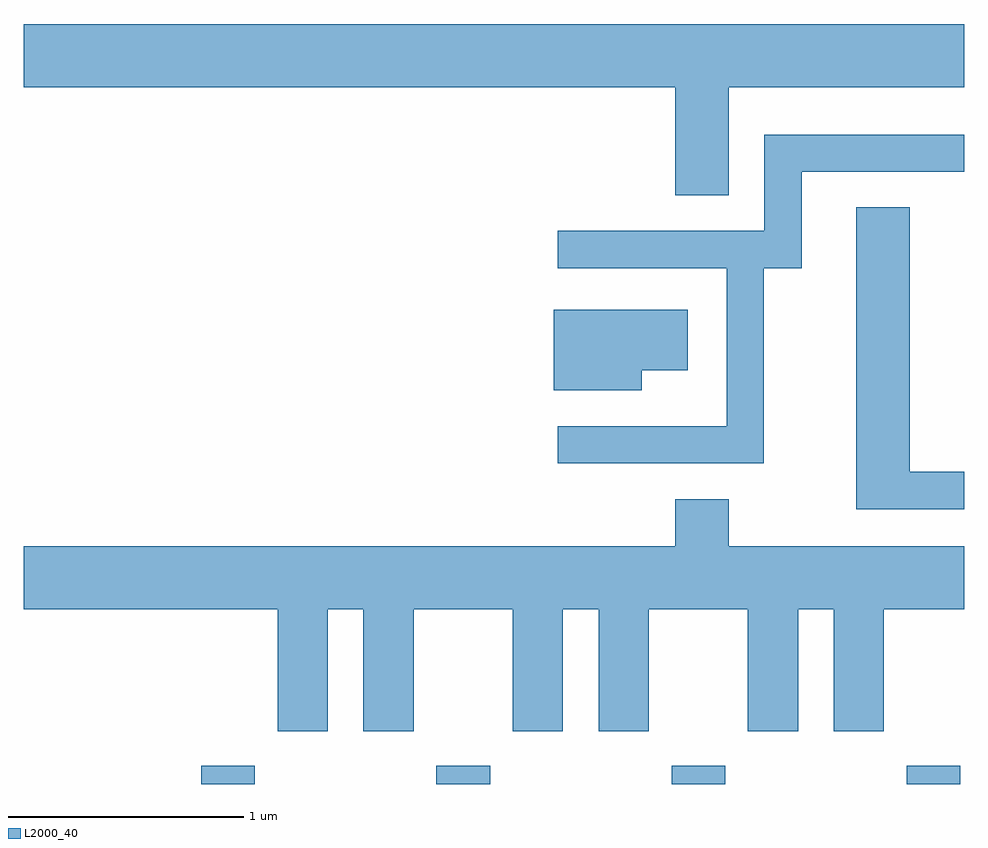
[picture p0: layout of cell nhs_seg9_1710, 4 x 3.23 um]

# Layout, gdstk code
import gdstk
lib = gdstk.Library(unit=1e-6, precision=1e-09)
def R(c, l, rs):  # rectangles x0, y0, x1, y1
    for r in rs: c.add(gdstk.rectangle(r[:2], r[2:], *l))
def A(c, l, x, y, w, h, nx, ny, dx, dy):  # array of equal rectangles
    R(c, l, [(x+i*dx, y+j*dy, x+i*dx+w, y+j*dy+h) for i in range(nx) for j in range(ny)])
def P(c, l, *ps):  # polygons
    for p in ps: c.add(gdstk.Polygon(p, *l))
L2000_40 = (2000, 40)

nhs_seg9_1710 = lib.new_cell('nhs_seg9_1710')
A(nhs_seg9_1710, L2000_40, 236.366, 1964.432, 0.228, 0.077, 4, 1, 1, 0)
P(nhs_seg9_1710, L2000_40, [(238.609,1967.396),(239.611,1967.396),(239.611,1967.664),(235.611,1967.664),(235.611,1967.396),(238.381,1967.396),(238.381,1966.936),(238.609,1966.936)],
  [(238.759,1966.626),(238.919,1966.626),(238.919,1967.036),(239.611,1967.036),(239.611,1967.194),(238.761,1967.194),(238.761,1966.784),(237.883,1966.784),(237.883,1966.626),(238.601,1966.626),(238.601,1965.954),(237.883,1965.954),(237.883,1965.796),(238.759,1965.796)],
  [(239.611,1965.759),(239.379,1965.759),(239.379,1966.884),(239.151,1966.884),(239.151,1965.601),(239.611,1965.601)],
  [(238.239,1966.191),(238.434,1966.191),(238.434,1966.449),(237.866,1966.449),(237.866,1966.106),(238.239,1966.106)],
  [(236.904,1965.176),(237.056,1965.176),(237.056,1964.656),(237.269,1964.656),(237.269,1965.176),(237.691,1965.176),(237.691,1964.656),(237.904,1964.656),(237.904,1965.176),(238.056,1965.176),(238.056,1964.656),(238.269,1964.656),(238.269,1965.176),(238.691,1965.176),(238.691,1964.656),(238.904,1964.656),(238.904,1965.176),(239.056,1965.176),(239.056,1964.656),(239.269,1964.656),(239.269,1965.176),(239.611,1965.176),(239.611,1965.444),(238.609,1965.444),(238.609,1965.644),(238.381,1965.644),(238.381,1965.444),(235.611,1965.444),(235.611,1965.176),(236.691,1965.176),(236.691,1964.656),(236.904,1964.656)])

lib.write_gds('nhs_seg9_1710.gds')
